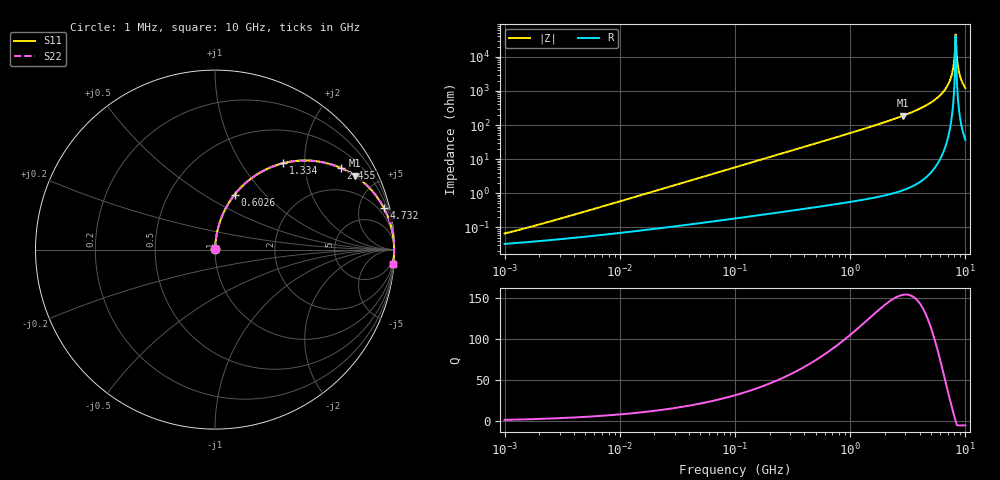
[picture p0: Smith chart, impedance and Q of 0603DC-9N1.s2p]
# MHz  S  MA  R  50
!Freq  MagS11  AngS11  MagS21  AngS21  MagS12  AngS12  MagS22  AngS22
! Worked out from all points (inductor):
!   801 points, 1 MHz to 10 GHz, reference 50 ohm
!   read as one part in series: L = 9.1 nH near 2.113 MHz
!   highest Q = 153 at 2.884 GHz (marker M1), where L = 10.4 nH
!   self-resonance near 8.222 GHz
!   S11 on the Smith chart (normalised r, x): 1 MHz: 1.00, +0.00; 602.6 MHz: 1.01, +0.69; 1.334 GHz: 1.01, +1.57; 2.455 GHz: 1.02, +3.08; 4.732 GHz: 1.07, +8.07; 10 GHz: 2, -24
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1  0.0006575 60.4  0.9997 -0.0  0.9997 -0.0  0.0006575 60.4
4.677351  0.002722 78.9  0.9995 -0.2  0.9995 -0.2  0.002722 78.9
21.62719  0.01239 85.0  0.999 -0.7  0.999 -0.7  0.01239 85.0
101.1579  0.05768 84.9  0.9965 -3.3  0.9965 -3.3  0.05768 84.9
467.7351  0.2583 74.2  0.9625 -15.0  0.9625 -15.0  0.2583 74.2
602.5596  0.3261 70.3  0.9413 -19.0  0.9413 -19.0  0.3261 70.3
1333.521  0.614 51.6  0.7842 -37.9  0.7842 -37.9  0.614 51.6
2162.719  0.7962 36.8  0.5995 -52.8  0.5995 -52.8  0.7962 36.8
2454.709  0.8362 32.9  0.5429 -56.7  0.5429 -56.7  0.8362 32.9
2884.032  0.8804 27.9  0.4685 -61.7  0.4685 -61.7  0.8804 27.9
4731.513  0.9688 13.9  0.24 -75.6  0.24 -75.6  0.9688 13.9
5956.621  0.9886 8.0  0.1386 -81.3  0.1386 -81.3  0.9886 8.0
6918.31  0.9954 4.3  0.07426 -84.3  0.07426 -84.3  0.9954 4.3
7498.942  0.9973 2.3  0.03999 -85.0  0.03999 -85.0  0.9973 2.3
7673.615  0.9976 1.7  0.03023 -84.6  0.03023 -84.6  0.9976 1.7
7943.282  0.9979 0.9  0.01565 -81.9  0.01565 -81.9  0.9979 0.9
8222.426  0.998 0.1  0.002207 -23.8  0.002207 -23.8  0.998 0.1
8511.38  0.9978 -0.8  0.0139 80.6  0.0139 80.6  0.9978 -0.8
8810.489  0.9974 -1.6  0.02846 84.0  0.02846 84.0  0.9974 -1.6
9120.108  0.9968 -2.5  0.04309 84.6  0.04309 84.6  0.9968 -2.5
9549.926  0.9957 -3.6  0.06264 84.3  0.06264 84.3  0.9957 -3.6
10000  0.9941 -4.7  0.08225 83.6  0.08225 83.6  0.9941 -4.7
